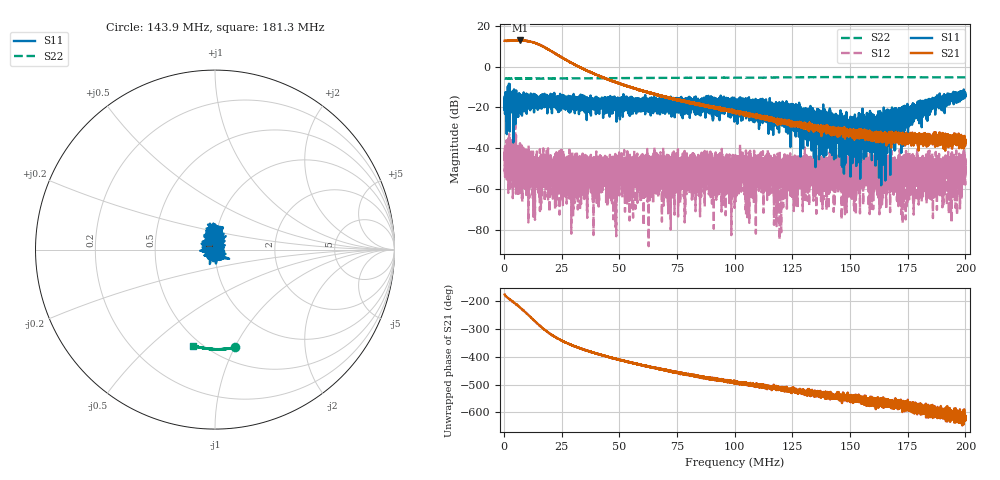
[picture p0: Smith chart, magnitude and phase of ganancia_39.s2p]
# Hz S DB R 50
! CMT, M5065, 19127446, 24.2.4/2
! Date: 11/8/2024 4:08:02 PM
! Data: Format (Calibration Info)
! Freq	S11:dB/Ang(F2)	S21:dB/Ang(F2)	S12:dB/Ang(F2)	S22:dB/Ang(F2)
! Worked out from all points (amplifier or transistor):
!   9000 points, 300 kHz to 200 MHz, reference 50 ohm
!   highest |S21| = 12.8 dB at 7.157 MHz (marker M1)
!   |S21| within 3 dB of that: start of sweep to 17.06 MHz
!   unconditionally stable (mu >= 1): start of sweep to end of sweep
!   at 33.59 MHz: K = 96.10, MAG = 0.9 dB, |S12| = -48.1 dB
!   at 100.2 MHz: K = 893.59, MAG = -20.3 dB, |S12| = -46.4 dB
!   at 200 MHz: K = 5461.11, MAG = -35.7 dB, |S12| = -46.7 dB
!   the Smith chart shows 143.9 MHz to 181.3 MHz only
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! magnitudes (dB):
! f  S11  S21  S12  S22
! 300 kHz  -17.7  12.6  -41.6  -5.8
! 7.157 MHz  -21.9  12.8  -46.3  -5.9
! 15.59 MHz  -17.7  10.6  -40.4  -5.8
! 33.59 MHz  -14.9  -0.6  -48.1  -5.7
! 66.87 MHz  -17.9  -13.7  -64.0  -5.5
! 84.01 MHz  -17.0  -18.3  -56.8  -5.4
! 88.58 MHz  -17.7  -19.5  -57.0  -5.4
! 100.2 MHz  -16.2  -21.8  -46.4  -5.4
! 133.4 MHz  -23.0  -29.4  -47.0  -5.1
! 137.2 MHz  -23.8  -30.7  -44.2  -5.1
! 142.2 MHz  -22.9  -30.8  -51.1  -5.1
! 147.9 MHz  -36.8  -33.4  -49.1  -5.1
! 150.2 MHz  -53.8  -32.7  -61.0  -5.1
! 164.9 MHz  -25.2  -35.4  -51.6  -5.1
! 166.7 MHz  -30.0  -35.7  -49.5  -5.1
! 171.4 MHz  -22.1  -33.3  -47.9  -5.2
! 174.6 MHz  -23.0  -33.3  -48.8  -5.1
! 176.6 MHz  -20.0  -35.1  -54.4  -5.2
! 190.1 MHz  -15.0  -37.5  -59.1  -5.2
! 192.2 MHz  -13.1  -35.9  -45.2  -5.3
! 197.1 MHz  -15.4  -35.9  -48.7  -5.3
! 200 MHz  -13.9  -37.5  -46.7  -5.3
